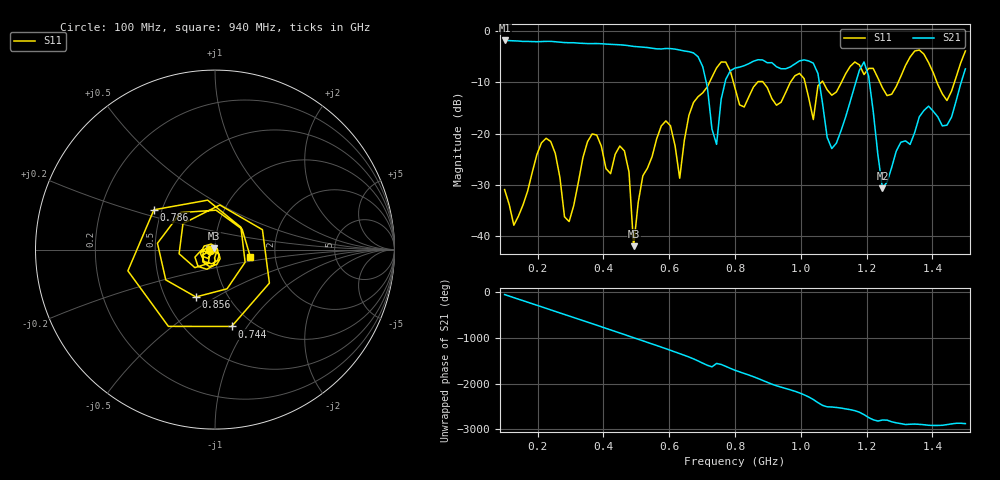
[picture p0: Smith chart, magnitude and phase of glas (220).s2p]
! NanoVNA-App
! Date: 2025-09-25 15:57:11
! Start: 100MHz Stop: 1,5GHz Points: 101
! S-Parameter data: F S11 S21 S12 S22
# Hz S RI R 50
!  Frequency  S11_Real  S11_Imag  S21_Real  S21_Imag  S12_Real  S12_Imag  S22_Real  S22_Imag
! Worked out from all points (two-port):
!   101 points, 100 MHz to 1.5 GHz, reference 50 ohm
!   highest |S21| = -1.80 dB at 100 MHz (marker M1); lowest = -30.7 dB at 1.248 GHz (marker M2)
!   |S21| within 3 dB of the highest: start of sweep to 684.3 MHz
!   lowest |S11| = -42.0 dB at 492 MHz (marker M3), VSWR 1.02, Z = 49.5 + j0.616 ohm
!   |S11| at or under -10 dB: start of sweep to 722.4 MHz; 795.3 MHz to 868 MHz (72.68 MHz wide, 8.74 % of centre); 886 MHz to 968 MHz (81.95 MHz wide, 8.84 % of centre) (the widest 3 of 7)
!   S12 and S22 are empty: the file has one direction only
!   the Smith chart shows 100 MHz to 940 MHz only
!   S11 on the Smith chart (normalised r, x): 100 MHz: 0.95, -0.01; 744 MHz: 0.80, -0.85; 786 MHz: 0.45, +0.24; 856 MHz: 0.71, -0.41; 940 MHz: 1.49, -0.13
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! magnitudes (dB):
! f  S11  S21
! 100 MHz  -30.9  -1.8
! 128 MHz  -37.9  -1.9
! 226 MHz  -20.9  -2.0
! 296 MHz  -37.2  -2.2
! 338 MHz  -24.7  -2.4
! 464 MHz  -23.4  -2.7
! 492 MHz  -42.0  -3.0
! 576 MHz  -18.5  -3.5
! 632 MHz  -28.7  -3.7
! 702 MHz  -12.0  -6.9
! 744 MHz  -7.2  -22.1
! 786 MHz  -7.8  -7.7
! 800 MHz  -11.1  -7.2
! 856 MHz  -10.9  -5.9
! 940 MHz  -13.9  -7.3
! 1.038 GHz  -17.3  -6.2
! 1.094 GHz  -12.5  -22.9
! 1.192 GHz  -8.5  -6.0
! 1.248 GHz  -11.1  -30.7
! 1.276 GHz  -12.3  -26.6
! 1.444 GHz  -13.5  -18.4
! 1.5 GHz  -3.9  -7.3
